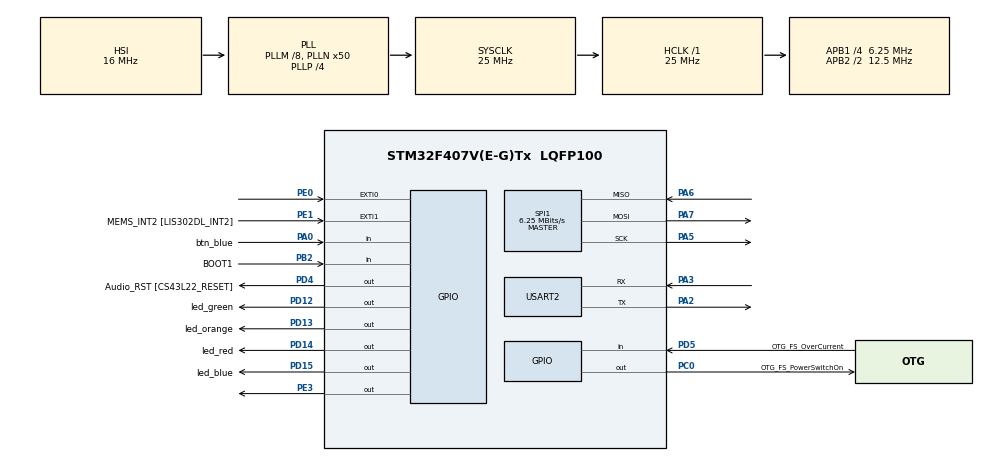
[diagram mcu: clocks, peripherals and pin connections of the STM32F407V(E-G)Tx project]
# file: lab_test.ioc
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Mcu.Family=STM32F4
Mcu.Name=STM32F407V(E-G)Tx
Mcu.Package=LQFP100
NVIC.EXTI0_IRQn=true\:5\:0\:true\:false\:true\:true\:true
NVIC.PriorityGroup=NVIC_PRIORITYGROUP_4
NVIC.TIM7_IRQn=true\:0\:0\:false\:false\:true\:false\:true
NVIC.TimeBase=TIM7_IRQn
NVIC.TimeBaseIP=TIM7
PA0-WKUP.GPIO_Label=btn_blue
PA0-WKUP.Signal=GPIO_Input
PA10.GPIO_Label=OTG_FS_ID
PA10.GPIO_Mode=GPIO_MODE_AF_PP
PA10.GPIO_PuPd=GPIO_NOPULL
PA10.GPIO_Speed=GPIO_SPEED_FREQ_LOW
PA10.Signal=USB_OTG_FS_ID
PA11.GPIO_Label=OTG_FS_DM
PA11.GPIO_Mode=GPIO_MODE_AF_PP
PA11.GPIO_PuPd=GPIO_NOPULL
PA11.GPIO_Speed=GPIO_SPEED_FREQ_LOW
PA11.Signal=USB_OTG_FS_DM
PA12.GPIO_Label=OTG_FS_DP
PA12.GPIO_Mode=GPIO_MODE_AF_PP
PA12.GPIO_PuPd=GPIO_NOPULL
PA12.GPIO_Speed=GPIO_SPEED_FREQ_LOW
PA12.Signal=USB_OTG_FS_DP
PA13.GPIO_Label=SWDIO
PA13.Mode=Serial_Wire
PA13.Signal=SYS_JTMS-SWDIO
PA14.GPIO_Label=SWCLK
PA14.Mode=Serial_Wire
PA14.Signal=SYS_JTCK-SWCLK
PA2.Mode=Asynchronous
PA2.Signal=USART2_TX
PA3.Mode=Asynchronous
PA3.Signal=USART2_RX
PA5.GPIO_Mode=GPIO_MODE_AF_PP
PA5.GPIO_PuPd=GPIO_NOPULL
PA5.GPIO_Speed=GPIO_SPEED_FREQ_LOW
PA5.Mode=Full_Duplex_Master
PA5.Signal=SPI1_SCK
PA6.GPIO_Mode=GPIO_MODE_AF_PP
PA6.GPIO_PuPd=GPIO_NOPULL
PA6.GPIO_Speed=GPIO_SPEED_FREQ_LOW
PA6.Mode=Full_Duplex_Master
PA6.Signal=SPI1_MISO
PA7.GPIO_Mode=GPIO_MODE_AF_PP
PA7.GPIO_PuPd=GPIO_NOPULL
PA7.GPIO_Speed=GPIO_SPEED_FREQ_LOW
PA7.Mode=Full_Duplex_Master
PA7.Signal=SPI1_MOSI
PA9.GPIO_Label=VBUS_FS
PA9.GPIO_Mode=GPIO_MODE_INPUT
PA9.GPIO_PuPd=GPIO_NOPULL
PA9.Signal=USB_OTG_FS_VBUS
PB10.GPIO_Label=CLK_IN [MP45DT02_CLK]
PB10.GPIO_Mode=GPIO_MODE_AF_PP
PB10.GPIO_PuPd=GPIO_NOPULL
PB10.GPIO_Speed=GPIO_SPEED_FREQ_LOW
PB10.Signal=I2S2_CK
PB2.GPIO_Label=BOOT1
PB2.GPIO_Mode=GPIO_MODE_INPUT
PB2.GPIO_PuPd=GPIO_NOPULL
PB2.Signal=GPIO_Input
PB3.GPIO_Label=SWO
PB3.Signal=SYS_JTDO-SWO
PB6.GPIO_Label=Audio_SCL [CS43L22_SCL]
PB6.GPIO_Mode=GPIO_MODE_AF_OD
PB6.GPIO_PuPd=GPIO_NOPULL
PB6.GPIO_Speed=GPIO_SPEED_FREQ_LOW
PB6.Signal=I2C1_SCL
PB9.GPIO_Label=Audio_SDA [CS43L22_SDA]
PB9.GPIO_Mode=GPIO_MODE_AF_OD
PB9.GPIO_PuPd=GPIO_NOPULL
PB9.GPIO_Speed=GPIO_SPEED_FREQ_LOW
PB9.Signal=I2C1_SDA
PC0.GPIO_Label=OTG_FS_PowerSwitchOn
PC0.GPIO_PuPd=GPIO_NOPULL
PC0.GPIO_Speed=GPIO_SPEED_FREQ_LOW
PC0.PinState=GPIO_PIN_SET
PC0.Signal=GPIO_Output
PC10.GPIO_Label=I2S3_SCK [CS43L22_SCLK]
PC10.GPIO_Mode=GPIO_MODE_AF_PP
PC10.GPIO_PuPd=GPIO_NOPULL
PC10.GPIO_Speed=GPIO_SPEED_FREQ_LOW
PC10.Signal=I2S3_CK
PC12.GPIO_Label=I2S3_SD [CS43L22_SDIN]
PC12.GPIO_Mode=GPIO_MODE_AF_PP
PC12.GPIO_PuPd=GPIO_NOPULL
PC12.GPIO_Speed=GPIO_SPEED_FREQ_LOW
PC12.Signal=I2S3_SD
PC14-OSC32_IN.GPIO_Label=PC14-OSC32_IN
PC14-OSC32_IN.Signal=RCC_OSC32_IN
PC15-OSC32_OUT.GPIO_Label=PC15-OSC32_OUT
PC15-OSC32_OUT.Signal=RCC_OSC32_OUT
PC3.GPIO_Label=PDM_OUT [MP45DT02_DOUT]
PC3.GPIO_Mode=GPIO_MODE_AF_PP
PC3.GPIO_PuPd=GPIO_NOPULL
PC3.GPIO_Speed=GPIO_SPEED_FREQ_LOW
PC3.Signal=I2S2_SD
PC7.GPIO_Label=I2S3_MCK [CS43L22_MCLK]
PC7.GPIO_Mode=GPIO_MODE_AF_PP
PC7.GPIO_PuPd=GPIO_NOPULL
PC7.GPIO_Speed=GPIO_SPEED_FREQ_LOW
PC7.Signal=I2S3_MCK
PD12.GPIO_Label=led_green
PD12.Signal=GPIO_Output
PD13.GPIO_Label=led_orange
PD13.Signal=GPIO_Output
PD14.GPIO_Label=led_red
PD14.GPIO_PuPd=GPIO_NOPULL
PD14.GPIO_Speed=GPIO_SPEED_FREQ_LOW
PD14.Signal=GPIO_Output
PD15.GPIO_Label=led_blue
PD15.GPIO_PuPd=GPIO_NOPULL
PD15.GPIO_Speed=GPIO_SPEED_FREQ_LOW
PD15.Signal=GPIO_Output
PD4.GPIO_Label=Audio_RST [CS43L22_RESET]
PD4.GPIO_PuPd=GPIO_NOPULL
PD4.GPIO_Speed=GPIO_SPEED_FREQ_LOW
PD4.Signal=GPIO_Output
PD5.GPIO_Label=OTG_FS_OverCurrent
PD5.GPIO_Mode=GPIO_MODE_INPUT
PD5.GPIO_PuPd=GPIO_NOPULL
PD5.Signal=GPIO_Input
PE0.Signal=GPXTI0
PE1.GPIO_Label=MEMS_INT2 [LIS302DL_INT2]
PE1.GPIO_ModeDefaultEXTI=GPIO_MODE_EVT_RISING
PE1.GPIO_PuPd=GPIO_NOPULL
PE1.Signal=GPXTI1
PE3.Signal=GPIO_Output
PH0-OSC_IN.GPIO_Label=PH0-OSC_IN
PH0-OSC_IN.Signal=RCC_OSC_IN
PH1-OSC_OUT.GPIO_Label=PH1-OSC_OUT
PH1-OSC_OUT.Signal=RCC_OSC_OUT
ProjectManager.HeapSize=0x200
ProjectManager.StackSize=0x400
ProjectManager.TargetToolchain=STM32CubeIDE
RCC.48MHZClocksFreq_Value=14285714.285714285
RCC.AHBFreq_Value=25000000
RCC.APB1CLKDivider=RCC_HCLK_DIV4
RCC.APB1Freq_Value=6250000
RCC.APB1TimFreq_Value=12500000
RCC.APB2CLKDivider=RCC_HCLK_DIV2
RCC.APB2Freq_Value=12500000
RCC.APB2TimFreq_Value=25000000
RCC.CortexFreq_Value=25000000
RCC.HCLKFreq_Value=25000000
RCC.HSE_VALUE=8000000
RCC.HSI_VALUE=16000000
RCC.LSE_VALUE=32768
RCC.PLLM=8
RCC.PLLN=50
RCC.PLLP=RCC_PLLP_DIV4
RCC.PLLQ=7
RCC.SYSCLKFreq_VALUE=25000000
RCC.SYSCLKSource=RCC_SYSCLKSOURCE_PLLCLK
RCC.VCOOutputFreq_Value=100000000
SPI1.CalculateBaudRate=6.25 MBits/s
SPI1.Direction=SPI_DIRECTION_2LINES
SPI1.Mode=SPI_MODE_MASTER
SPI1.VirtualType=VM_MASTER
USART2.VirtualMode=VM_ASYNC
VP_SYS_VS_tim7.Mode=TIM7
board=STM32F407G-DISC1

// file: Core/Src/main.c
/* USER CODE BEGIN Header */
/**
  ******************************************************************************
  * @file           : main.c
  * @brief          : Main program body
  ******************************************************************************
  * @attention
  *
  * <h2><center>&copy; Copyright (c) 2021 STMicroelectronics.
  * All rights reserved.</center></h2>
  *
  * This software component is licensed by ST under BSD 3-Clause license,
  * the "License"; You may not use this file except in compliance with the
  * License. You may obtain a copy of the License at:
  *                        opensource.org/licenses/BSD-3-Clause
  *
  ******************************************************************************
  */
/* USER CODE END Header */
#include "main.h"

/* USER CODE BEGIN Includes */
#include "FreeRTOS.h"
#include "task.h"
#include "semphr.h"
/* USER CODE END Includes */

/* USER CODE BEGIN PM */
#define LIS3DSH_WHO_AM_I_ADDR                0x0F
#define LIS3DSH_STAT_ADDR                    0x18
#define LIS3DSH_CTRL_REG4_ADDR               0x20
#define LIS3DSH_CTRL_REG1_ADDR               0x21
#define LIS3DSH_CTRL_REG2_ADDR               0x22
#define LIS3DSH_CTRL_REG3_ADDR               0x23
#define LIS3DSH_CTRL_REG5_ADDR               0x24
#define LIS3DSH_CTRL_REG6_ADDR               0x25

#define LIS3DSH_STATUS_ADDR                  0x27

#define LIS3DSH_OUT_X_L_ADDR                 0x28
#define LIS3DSH_OUT_X_H_ADDR                 0x29
#define LIS3DSH_OUT_Y_L_ADDR                 0x2A
#define LIS3DSH_OUT_Y_H_ADDR                 0x2B
#define LIS3DSH_OUT_Z_L_ADDR                 0x2C
#define LIS3DSH_OUT_Z_H_ADDR                 0x2D

#define LIS3DSH_ST1_1_ADDR                   0x40
#define LIS3DSH_ST1_2_ADDR                   0x41
#define LIS3DSH_THRS1_1_ADDR                 0x57
#define LIS3DSH_MASK1_B_ADDR                 0x59
#define LIS3DSH_MASK1_A_ADDR                 0x5A
#define LIS3DSH_SETT1_ADDR                   0x5B
#define LIS3DSH_OUTS1_ADDR                   0x5F

/* USER CODE END PM */

SPI_HandleTypeDef hspi1;

UART_HandleTypeDef huart2;

void SystemClock_Config(void);
static void MX_GPIO_Init(void);
static void MX_USART2_UART_Init(void);
static void MX_SPI1_Init(void);

/* USER CODE BEGIN 0 */
SemaphoreHandle_t xSemaphore =NULL;

void MEMS_Write(uint8_t address,uint8_t data){
	HAL_GPIO_WritePin(GPIOE, GPIO_PIN_3, GPIO_PIN_RESET);
	HAL_SPI_Transmit(&hspi1,&address,1,10);
	HAL_SPI_Transmit(&hspi1,&data,1,10);
	HAL_GPIO_WritePin(GPIOE, GPIO_PIN_3,GPIO_PIN_SET);
}

void MEMS_Read(uint8_t address,uint8_t *data){
    address |= 0x80;
	HAL_GPIO_WritePin(GPIOE,GPIO_PIN_3,GPIO_PIN_RESET);
	HAL_SPI_Transmit(&hspi1,&address,1,10);
	HAL_SPI_Receive(&hspi1,data,1,10);
	HAL_GPIO_WritePin(GPIOE,GPIO_PIN_3,GPIO_PIN_SET);
}

void LED_Task(void *pvParameter)
{
	for(;;)
	{
		HAL_GPIO_WritePin(led_green_GPIO_Port,GPIO_PIN_12,GPIO_PIN_SET);
		vTaskDelay(1000);
		HAL_GPIO_WritePin(led_green_GPIO_Port,GPIO_PIN_12,GPIO_PIN_RESET);
		vTaskDelay(1000);
	}
}

void vHandlerTask(void* pvParameters)
{
	for(;;)
	{
		if(xSemaphoreTake(xSemaphore, portMAX_DELAY) == pdTRUE){
			uint8_t data = 0;
			for(int i=0;i<10;i++)
			{
				uint32_t From_begin_time = HAL_GetTick();
				HAL_GPIO_TogglePin(GPIOD, GPIO_PIN_13);
				while(HAL_GetTick() - From_begin_time < 250 / portTICK_RATE_MS){
				}
			}
			MEMS_Read(LIS3DSH_OUTS1_ADDR, &data);

		}
	}
}

void HAL_GPIO_EXTI_Callback(uint16_t GPIO_Pin)
{

	BaseType_t xHigherPriorityTaskWoken;
	xHigherPriorityTaskWoken=pdFALSE;
	xSemaphoreGiveFromISR(xSemaphore,&xHigherPriorityTaskWoken);
	portYIELD_FROM_ISR(xHigherPriorityTaskWoken);
	HAL_GPIO_TogglePin(GPIOD, GPIO_PIN_14);
}

/* USER CODE END 0 */

int main(void)
{

  /* MCU Configuration--------------------------------------------------------*/

  /* Reset of all peripherals, Initializes the Flash interface and the Systick. */
  HAL_Init();

  /* Configure the system clock */
  SystemClock_Config();

  /* Initialize all configured peripherals */
  MX_GPIO_Init();
  MX_USART2_UART_Init();
  MX_SPI1_Init();
  /* USER CODE BEGIN 2 */

  MEMS_Write(LIS3DSH_CTRL_REG1_ADDR,0x01);
  MEMS_Write(LIS3DSH_CTRL_REG3_ADDR,0x48);
  MEMS_Write(LIS3DSH_CTRL_REG4_ADDR,0x67);
  MEMS_Write(LIS3DSH_CTRL_REG5_ADDR,0x00);
  MEMS_Write(LIS3DSH_THRS1_1_ADDR,0x55);
  MEMS_Write(LIS3DSH_ST1_1_ADDR,0x05);
  MEMS_Write(LIS3DSH_ST1_2_ADDR,0x11);
  MEMS_Write(LIS3DSH_MASK1_B_ADDR,0xFC);
  MEMS_Write(LIS3DSH_MASK1_A_ADDR,0xFC);
  MEMS_Write(LIS3DSH_SETT1_ADDR,0x01);

  xSemaphore = xSemaphoreCreateBinary();

  xTaskCreate(LED_Task,"LED_Task",1000,NULL,1,NULL);
  xTaskCreate(vHandlerTask,"vHandlerTask",1000,NULL,3,NULL);
  vTaskStartScheduler();
  /* USER CODE END 2 */

  /* Infinite loop */
  while (1)
  {

  }
}

void SystemClock_Config(void)
{
  RCC_OscInitTypeDef RCC_OscInitStruct = {0};
  RCC_ClkInitTypeDef RCC_ClkInitStruct = {0};

  /** Configure the main internal regulator output voltage
  */
  __HAL_RCC_PWR_CLK_ENABLE();
  __HAL_PWR_VOLTAGESCALING_CONFIG(PWR_REGULATOR_VOLTAGE_SCALE1);
  /** Initializes the RCC Oscillators according to the specified parameters
  * in the RCC_OscInitTypeDef structure.
  */
  RCC_OscInitStruct.OscillatorType = RCC_OSCILLATORTYPE_HSI;
  RCC_OscInitStruct.HSIState = RCC_HSI_ON;
  RCC_OscInitStruct.HSICalibrationValue = RCC_HSICALIBRATION_DEFAULT;
  RCC_OscInitStruct.PLL.PLLState = RCC_PLL_ON;
  RCC_OscInitStruct.PLL.PLLSource = RCC_PLLSOURCE_HSI;
  RCC_OscInitStruct.PLL.PLLM = 8;
  RCC_OscInitStruct.PLL.PLLN = 50;
  RCC_OscInitStruct.PLL.PLLP = RCC_PLLP_DIV4;
  RCC_OscInitStruct.PLL.PLLQ = 7;
  if (HAL_RCC_OscConfig(&RCC_OscInitStruct) != HAL_OK)
  {
    Error_Handler();
  }
  /** Initializes the CPU, AHB and APB buses clocks
  */
  RCC_ClkInitStruct.ClockType = RCC_CLOCKTYPE_HCLK|RCC_CLOCKTYPE_SYSCLK
                              |RCC_CLOCKTYPE_PCLK1|RCC_CLOCKTYPE_PCLK2;
  RCC_ClkInitStruct.SYSCLKSource = RCC_SYSCLKSOURCE_PLLCLK;
  RCC_ClkInitStruct.AHBCLKDivider = RCC_SYSCLK_DIV1;
  RCC_ClkInitStruct.APB1CLKDivider = RCC_HCLK_DIV4;
  RCC_ClkInitStruct.APB2CLKDivider = RCC_HCLK_DIV2;

  if (HAL_RCC_ClockConfig(&RCC_ClkInitStruct, FLASH_LATENCY_0) != HAL_OK)
  {
    Error_Handler();
  }
}

static void MX_SPI1_Init(void)
{

  /* SPI1 parameter configuration*/
  hspi1.Instance = SPI1;
  hspi1.Init.Mode = SPI_MODE_MASTER;
  hspi1.Init.Direction = SPI_DIRECTION_2LINES;
  hspi1.Init.DataSize = SPI_DATASIZE_8BIT;
  hspi1.Init.CLKPolarity = SPI_POLARITY_LOW;
  hspi1.Init.CLKPhase = SPI_PHASE_1EDGE;
  hspi1.Init.NSS = SPI_NSS_SOFT;
  hspi1.Init.BaudRatePrescaler = SPI_BAUDRATEPRESCALER_2;
  hspi1.Init.FirstBit = SPI_FIRSTBIT_MSB;
  hspi1.Init.TIMode = SPI_TIMODE_DISABLE;
  hspi1.Init.CRCCalculation = SPI_CRCCALCULATION_DISABLE;
  hspi1.Init.CRCPolynomial = 10;
  if (HAL_SPI_Init(&hspi1) != HAL_OK)
  {
    Error_Handler();
  }

}

static void MX_USART2_UART_Init(void)
{

  huart2.Instance = USART2;
  huart2.Init.BaudRate = 115200;
  huart2.Init.WordLength = UART_WORDLENGTH_8B;
  huart2.Init.StopBits = UART_STOPBITS_1;
  huart2.Init.Parity = UART_PARITY_NONE;
  huart2.Init.Mode = UART_MODE_TX_RX;
  huart2.Init.HwFlowCtl = UART_HWCONTROL_NONE;
  huart2.Init.OverSampling = UART_OVERSAMPLING_16;
  if (HAL_UART_Init(&huart2) != HAL_OK)
  {
    Error_Handler();
  }

}

static void MX_GPIO_Init(void)
{
  GPIO_InitTypeDef GPIO_InitStruct = {0};

  /* GPIO Ports Clock Enable */
  __HAL_RCC_GPIOE_CLK_ENABLE();
  __HAL_RCC_GPIOC_CLK_ENABLE();
  __HAL_RCC_GPIOH_CLK_ENABLE();
  __HAL_RCC_GPIOA_CLK_ENABLE();
  __HAL_RCC_GPIOB_CLK_ENABLE();
  __HAL_RCC_GPIOD_CLK_ENABLE();

  /*Configure GPIO pin Output Level */
  HAL_GPIO_WritePin(GPIOE, GPIO_PIN_3, GPIO_PIN_RESET);

  /*Configure GPIO pin Output Level */
  HAL_GPIO_WritePin(OTG_FS_PowerSwitchOn_GPIO_Port, OTG_FS_PowerSwitchOn_Pin, GPIO_PIN_SET);

  /*Configure GPIO pin Output Level */
  HAL_GPIO_WritePin(GPIOD, led_green_Pin|led_orange_Pin|led_red_Pin|led_blue_Pin
                          |Audio_RST_Pin, GPIO_PIN_RESET);

  /*Configure GPIO pin : PE3 */
  GPIO_InitStruct.Pin = GPIO_PIN_3;
  GPIO_InitStruct.Mode = GPIO_MODE_OUTPUT_PP;
  GPIO_InitStruct.Pull = GPIO_NOPULL;
  GPIO_InitStruct.Speed = GPIO_SPEED_FREQ_LOW;
  HAL_GPIO_Init(GPIOE, &GPIO_InitStruct);

  /*Configure GPIO pin : OTG_FS_PowerSwitchOn_Pin */
  GPIO_InitStruct.Pin = OTG_FS_PowerSwitchOn_Pin;
  GPIO_InitStruct.Mode = GPIO_MODE_OUTPUT_PP;
  GPIO_InitStruct.Pull = GPIO_NOPULL;
  GPIO_InitStruct.Speed = GPIO_SPEED_FREQ_LOW;
  HAL_GPIO_Init(OTG_FS_PowerSwitchOn_GPIO_Port, &GPIO_InitStruct);

  /*Configure GPIO pin : PDM_OUT_Pin */
  GPIO_InitStruct.Pin = PDM_OUT_Pin;
  GPIO_InitStruct.Mode = GPIO_MODE_AF_PP;
  GPIO_InitStruct.Pull = GPIO_NOPULL;
  GPIO_InitStruct.Speed = GPIO_SPEED_FREQ_LOW;
  GPIO_InitStruct.Alternate = GPIO_AF5_SPI2;
  HAL_GPIO_Init(PDM_OUT_GPIO_Port, &GPIO_InitStruct);

  /*Configure GPIO pin : btn_blue_Pin */
  GPIO_InitStruct.Pin = btn_blue_Pin;
  GPIO_InitStruct.Mode = GPIO_MODE_INPUT;
  GPIO_InitStruct.Pull = GPIO_NOPULL;
  HAL_GPIO_Init(btn_blue_GPIO_Port, &GPIO_InitStruct);

  /*Configure GPIO pin : BOOT1_Pin */
  GPIO_InitStruct.Pin = BOOT1_Pin;
  GPIO_InitStruct.Mode = GPIO_MODE_INPUT;
  GPIO_InitStruct.Pull = GPIO_NOPULL;
  HAL_GPIO_Init(BOOT1_GPIO_Port, &GPIO_InitStruct);

  /*Configure GPIO pin : CLK_IN_Pin */
  GPIO_InitStruct.Pin = CLK_IN_Pin;
  GPIO_InitStruct.Mode = GPIO_MODE_AF_PP;
  GPIO_InitStruct.Pull = GPIO_NOPULL;
  GPIO_InitStruct.Speed = GPIO_SPEED_FREQ_LOW;
  GPIO_InitStruct.Alternate = GPIO_AF5_SPI2;
  HAL_GPIO_Init(CLK_IN_GPIO_Port, &GPIO_InitStruct);

  /*Configure GPIO pins : led_green_Pin led_orange_Pin led_red_Pin led_blue_Pin
                           Audio_RST_Pin */
  GPIO_InitStruct.Pin = led_green_Pin|led_orange_Pin|led_red_Pin|led_blue_Pin
                          |Audio_RST_Pin;
  GPIO_InitStruct.Mode = GPIO_MODE_OUTPUT_PP;
  GPIO_InitStruct.Pull = GPIO_NOPULL;
  GPIO_InitStruct.Speed = GPIO_SPEED_FREQ_LOW;
  HAL_GPIO_Init(GPIOD, &GPIO_InitStruct);

  /*Configure GPIO pins : I2S3_MCK_Pin I2S3_SCK_Pin I2S3_SD_Pin */
  GPIO_InitStruct.Pin = I2S3_MCK_Pin|I2S3_SCK_Pin|I2S3_SD_Pin;
  GPIO_InitStruct.Mode = GPIO_MODE_AF_PP;
  GPIO_InitStruct.Pull = GPIO_NOPULL;
  GPIO_InitStruct.Speed = GPIO_SPEED_FREQ_LOW;
  GPIO_InitStruct.Alternate = GPIO_AF6_SPI3;
  HAL_GPIO_Init(GPIOC, &GPIO_InitStruct);

  /*Configure GPIO pin : VBUS_FS_Pin */
  GPIO_InitStruct.Pin = VBUS_FS_Pin;
  GPIO_InitStruct.Mode = GPIO_MODE_INPUT;
  GPIO_InitStruct.Pull = GPIO_NOPULL;
  HAL_GPIO_Init(VBUS_FS_GPIO_Port, &GPIO_InitStruct);

  /*Configure GPIO pins : OTG_FS_ID_Pin OTG_FS_DM_Pin OTG_FS_DP_Pin */
  GPIO_InitStruct.Pin = OTG_FS_ID_Pin|OTG_FS_DM_Pin|OTG_FS_DP_Pin;
  GPIO_InitStruct.Mode = GPIO_MODE_AF_PP;
  GPIO_InitStruct.Pull = GPIO_NOPULL;
  GPIO_InitStruct.Speed = GPIO_SPEED_FREQ_LOW;
  GPIO_InitStruct.Alternate = GPIO_AF10_OTG_FS;
  HAL_GPIO_Init(GPIOA, &GPIO_InitStruct);

  /*Configure GPIO pin : OTG_FS_OverCurrent_Pin */
  GPIO_InitStruct.Pin = OTG_FS_OverCurrent_Pin;
  GPIO_InitStruct.Mode = GPIO_MODE_INPUT;
  GPIO_InitStruct.Pull = GPIO_NOPULL;
  HAL_GPIO_Init(OTG_FS_OverCurrent_GPIO_Port, &GPIO_InitStruct);

  /*Configure GPIO pins : Audio_SCL_Pin Audio_SDA_Pin */
  GPIO_InitStruct.Pin = Audio_SCL_Pin|Audio_SDA_Pin;
  GPIO_InitStruct.Mode = GPIO_MODE_AF_OD;
  GPIO_InitStruct.Pull = GPIO_NOPULL;
  GPIO_InitStruct.Speed = GPIO_SPEED_FREQ_LOW;
  GPIO_InitStruct.Alternate = GPIO_AF4_I2C1;
  HAL_GPIO_Init(GPIOB, &GPIO_InitStruct);

  /*Configure GPIO pin : PE0 */
  GPIO_InitStruct.Pin = GPIO_PIN_0;
  GPIO_InitStruct.Mode = GPIO_MODE_IT_RISING;
  GPIO_InitStruct.Pull = GPIO_NOPULL;
  HAL_GPIO_Init(GPIOE, &GPIO_InitStruct);

  /*Configure GPIO pin : MEMS_INT2_Pin */
  GPIO_InitStruct.Pin = MEMS_INT2_Pin;
  GPIO_InitStruct.Mode = GPIO_MODE_EVT_RISING;
  GPIO_InitStruct.Pull = GPIO_NOPULL;
  HAL_GPIO_Init(MEMS_INT2_GPIO_Port, &GPIO_InitStruct);

  /* EXTI interrupt init*/
  HAL_NVIC_SetPriority(EXTI0_IRQn, 5, 0);
  HAL_NVIC_EnableIRQ(EXTI0_IRQn);

}

void HAL_TIM_PeriodElapsedCallback(TIM_HandleTypeDef *htim)
{
  if (htim->Instance == TIM7) {
    HAL_IncTick();
  }
}

void Error_Handler(void)
{
  __disable_irq();
  while (1)
  {
  }
}
